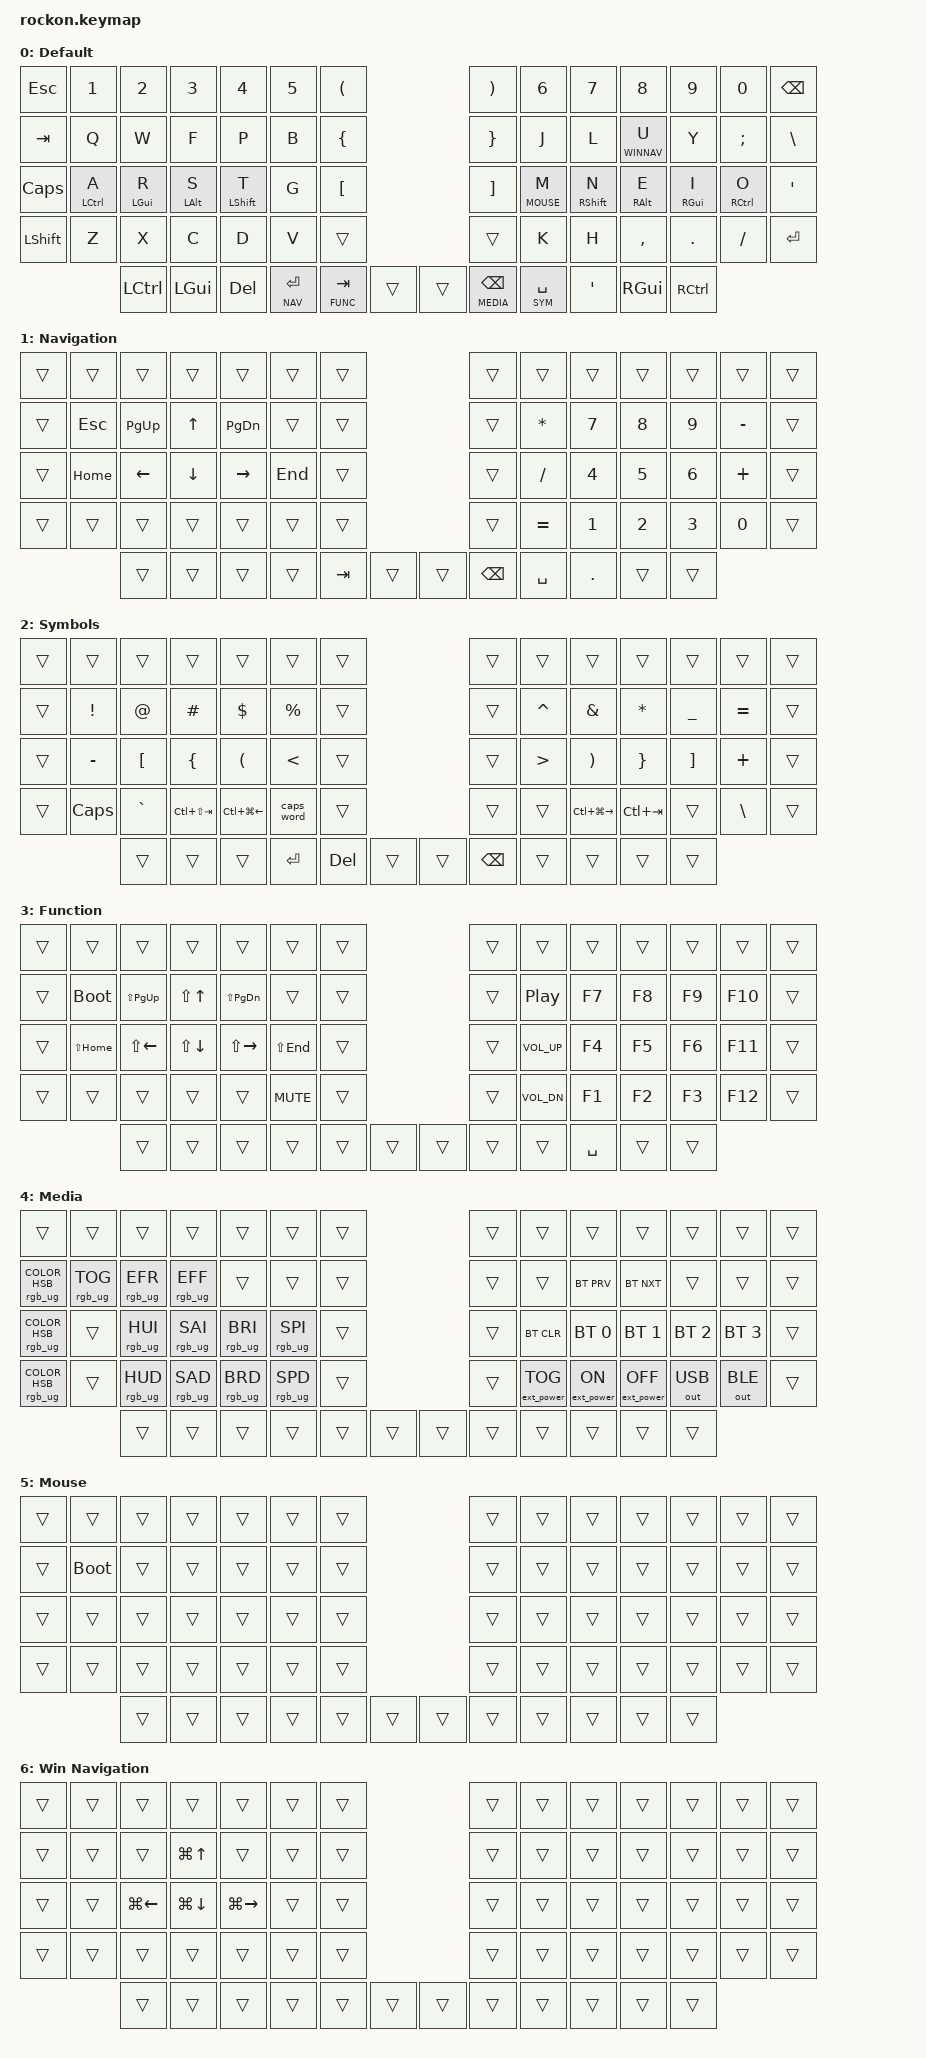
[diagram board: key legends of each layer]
#include <behaviors.dtsi>
#include <dt-bindings/zmk/keys.h>
#include <dt-bindings/zmk/rgb.h>
#include <dt-bindings/zmk/bt.h>
#include <dt-bindings/zmk/ext_power.h>
#include <dt-bindings/zmk/outputs.h>

#define DEFAULT 0
#define NAV     1
#define SYM     2
#define FUNC    3
#define MEDIA   4
#define MOUSE   5
#define WINNAV  6

&caps_word {
    continue-list = <UNDERSCORE MINUS>;
};

/ {
    combos {
        compatible = "zmk,combos";
        combo_undo {
            timeout-ms = <50>;
            key-positions = <26 27>;
            bindings = <&kp LC(Z)>;
        };
        combo_q {
            timeout-ms = <50>;
            key-positions = <27 28>;
            bindings = <&kp Q>;
        };
        combo_semicolon {
            timeout-ms = <50>;
            key-positions = <33 34>;
            bindings = <&kp SEMI>;
        };
    };
};

/ {
    behaviors {
        hm: homerow_mods {
            compatible = "zmk,behavior-hold-tap";
            label = "HOMEROW_MODS";
            #binding-cells = <2>;
            tapping-term-ms = <200>;
            quick_tap_ms = <0>;
            flavor = "balanced";
            bindings = <&kp>, <&kp>;
        };
        hs: homerow_shift {
            compatible = "zmk,behavior-hold-tap";
            label = "HOMEROW_SHIFT";
            #binding-cells = <2>;
            tapping-term-ms = <175>;
            quick_tap_ms = <0>;
            flavor = "balanced";
            bindings = <&kp>, <&kp>;
        };
    };

    keymap {
        compatible = "zmk,keymap";

        default_layer {
            label = "Default";
            bindings = <
    &kp ESC    &kp N1      &kp N2      &kp N3      &kp N4        &kp N5       &kp LPAR                                     &kp RPAR        &kp N6         &kp N7        &kp N8        &kp N9      &kp N0      &kp BSPC
    &kp TAB    &kp Q       &kp W       &kp F       &kp P         &kp B        &kp LBRC                                     &kp RBRC        &kp J          &kp L         &lt WINNAV U  &kp Y       &kp SEMI    &kp BSLH
    &kp CAPS   &hm LCTL A  &hm LGUI R  &hm LALT S  &hs LSHIFT T  &kp G        &kp LBKT                                     &kp RBKT        &lt MOUSE M    &hs RSHIFT N  &hm RALT E    &hm RGUI I  &hm RCTL O  &kp SQT
    &kp LSHIFT &kp Z       &kp X       &kp C       &kp D         &kp V        &trans                                       &trans          &kp K          &kp H         &kp COMMA     &kp DOT     &kp FSLH    &kp RET
                           &kp LCTL    &kp LGUI    &kp DEL       &lt NAV RET  &lt FUNC TAB      &trans        &trans       &lt MEDIA BSPC  &lt SYM SPACE  &kp SQT       &kp RGUI      &kp RCTL
            >;
        };

        nav_layer {
            label = "Navigation";
            
            bindings = <
    &trans     &trans       &trans       &trans      &trans        &trans      &trans                                  &trans     &trans        &trans       &trans        &trans      &trans      &trans
    &trans     &kp ESC      &kp PG_UP    &kp UP      &kp PG_DN     &trans      &trans                                  &trans     &kp ASTRK     &kp N7       &kp N8        &kp N9      &kp MINUS   &trans
    &trans     &kp HOME     &kp LEFT     &kp DOWN    &kp RIGHT     &kp END     &trans                                  &trans     &kp FSLH      &kp N4       &kp N5        &kp N6      &kp PLUS    &trans
    &trans     &trans       &trans       &trans      &trans        &trans      &trans                                  &trans     &kp EQUAL     &kp N1       &kp N2        &kp N3      &kp N0      &trans
                            &trans       &trans      &trans        &trans      &kp TAB      &trans        &trans       &kp BSPC   &kp SPACE     &kp DOT      &trans        &trans
            >;
        };

        sym_layer {
            label = "Symbols";

            bindings = <
    &trans     &trans       &trans       &trans          &trans           &trans        &trans                                  &trans         &trans        &trans            &trans        &trans      &trans      &trans
    &trans     &kp EXCL     &kp AT       &kp HASH        &kp DLLR         &kp PRCNT     &trans                                  &trans         &kp CARET     &kp AMPS          &kp ASTRK     &kp UNDER   &kp EQUAL   &trans
    &trans     &kp MINUS    &kp LBKT     &kp LBRC        &kp LPAR         &kp LT        &trans                                  &trans         &kp GT        &kp RPAR          &kp RBRC      &kp RBKT    &kp PLUS    &trans
    &trans     &kp CAPS     &kp GRAVE    &kp LC(LS(TAB)) &kp LC(LG(LEFT)) &caps_word    &trans                                  &trans         &trans        &kp LC(LG(RIGHT)) &kp LC(TAB)   &trans      &kp BSLH    &trans
                            &trans       &trans          &trans           &kp RET       &kp DEL      &trans        &trans       &kp BSPC       &trans        &trans            &trans        &trans
            >;
        };

        func_layer {
            label = "Function";

            bindings = <
    &trans     &trans       &trans        &trans       &trans        &trans        &trans                                  &trans     &trans           &trans       &trans        &trans      &trans      &trans
    &trans     &bootloader  &kp LS(PG_UP) &kp LS(UP)   &kp LS(PG_DN) &trans        &trans                                  &trans     &kp C_PLAY_PAUSE &kp F7       &kp F8        &kp F9      &kp F10     &trans
    &trans     &kp LS(HOME) &kp LS(LEFT)  &kp LS(DOWN) &kp LS(RIGHT) &kp LS(END)   &trans                                  &trans     &kp K_VOL_UP     &kp F4       &kp F5        &kp F6      &kp F11     &trans
    &trans     &trans       &trans        &trans       &trans        &kp C_MUTE    &trans                                  &trans     &kp K_VOL_DN     &kp F1       &kp F2        &kp F3      &kp F12     &trans
                            &trans        &trans       &trans        &trans        &trans      &trans        &trans        &trans     &trans           &kp SPACE    &trans        &trans
            >;
        };

        media_layer {
            label = "Media";

            bindings = <
    &trans                                 &trans           &trans           &trans          &trans            &trans            &trans                                  &trans     &trans             &trans            &trans             &trans         &trans          &trans
    &rgb_ug RGB_COLOR_HSB(0,0,100)         &rgb_ug RGB_TOG  &rgb_ug RGB_EFR  &rgb_ug RGB_EFF &trans            &trans            &trans                                  &trans     &trans             &bt BT_PRV        &bt BT_NXT         &trans         &trans          &trans
    &rgb_ug RGB_COLOR_HSB(224,100,100)     &trans           &rgb_ug RGB_HUI  &rgb_ug RGB_SAI &rgb_ug RGB_BRI   &rgb_ug RGB_SPI   &trans                                  &trans     &bt BT_CLR         &bt BT_SEL 0      &bt BT_SEL 1       &bt BT_SEL 2   &bt BT_SEL 3    &trans
    &rgb_ug RGB_COLOR_HSB(278,100,100)     &trans           &rgb_ug RGB_HUD  &rgb_ug RGB_SAD &rgb_ug RGB_BRD   &rgb_ug RGB_SPD   &trans                                  &trans     &ext_power EP_TOG  &ext_power EP_ON  &ext_power EP_OFF  &out OUT_USB   &out OUT_BLE    &trans
                                                            &trans           &trans          &trans            &trans            &trans      &trans        &trans        &trans     &trans             &trans            &trans             &trans
            >;
        };

        mouse_layer {
            label = "Mouse";

            bindings = <
    &trans     &trans      &trans      &trans      &trans      &trans        &trans                                  &trans          &trans      &trans      &trans      &trans      &trans      &trans
    &trans     &bootloader &trans      &trans      &trans      &trans        &trans                                  &trans          &trans      &trans      &trans      &trans      &trans      &trans
    &trans     &trans      &trans      &trans      &trans      &trans        &trans                                  &trans          &trans      &trans      &trans      &trans      &trans      &trans
    &trans     &trans      &trans      &trans      &trans      &trans        &trans                                  &trans          &trans      &trans      &trans      &trans      &trans      &trans
                           &trans      &trans      &trans      &trans        &trans      &trans        &trans        &trans          &trans      &trans      &trans      &trans
            >;
        };

        winnav_layer {
            label = "Win Navigation";

            bindings = <
    &trans     &trans       &trans       &trans       &trans        &trans        &trans                                  &trans     &trans      &trans      &trans      &trans      &trans      &trans
    &trans     &trans       &trans       &kp LG(UP)   &trans        &trans        &trans                                  &trans     &trans      &trans      &trans      &trans      &trans      &trans
    &trans     &trans       &kp LG(LEFT) &kp LG(DOWN) &kp LG(RIGHT) &trans        &trans                                  &trans     &trans      &trans      &trans      &trans      &trans      &trans
    &trans     &trans       &trans       &trans       &trans        &trans        &trans                                  &trans     &trans      &trans      &trans      &trans      &trans      &trans
                            &trans       &trans       &trans        &trans        &trans      &trans        &trans        &trans     &trans      &trans      &trans      &trans
            >;
        };
    };
};
